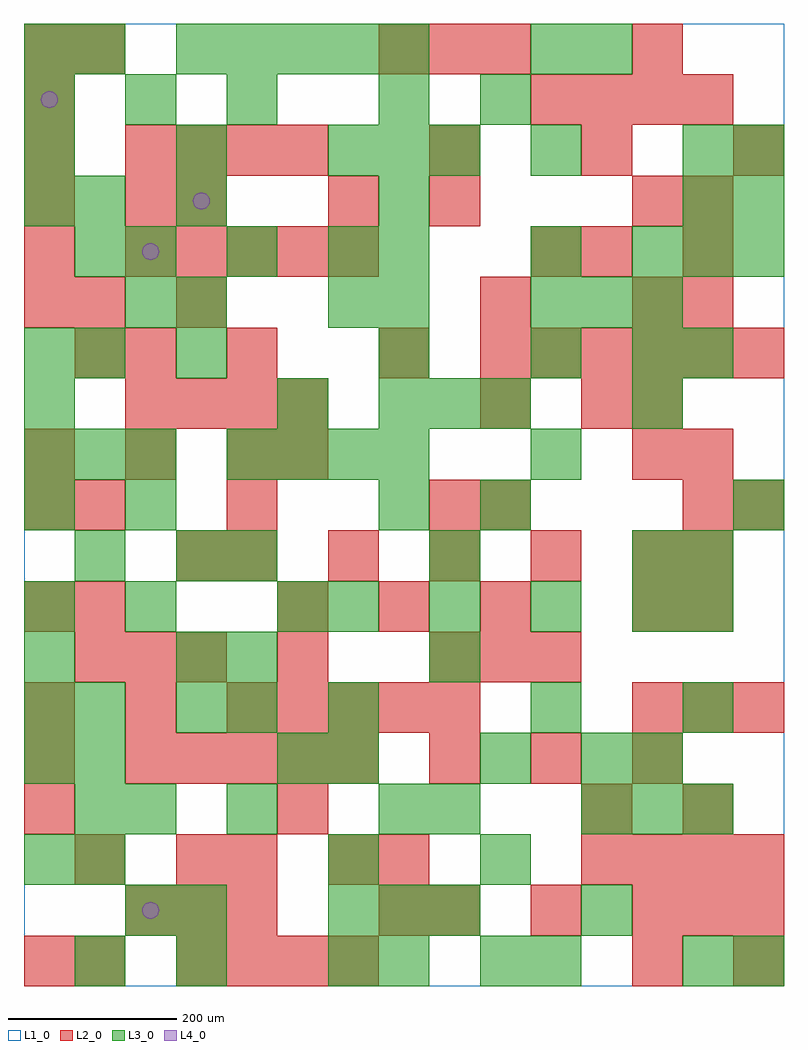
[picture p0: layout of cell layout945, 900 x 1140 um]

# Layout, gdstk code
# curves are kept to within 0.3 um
import gdstk
lib = gdstk.Library(unit=1e-6, precision=1e-09)
def R(c, l, rs):  # rectangles x0, y0, x1, y1
    for r in rs: c.add(gdstk.rectangle(r[:2], r[2:], *l))
def A(c, l, x, y, w, h, nx, ny, dx, dy):  # array of equal rectangles
    R(c, l, [(x+i*dx, y+j*dy, x+i*dx+w, y+j*dy+h) for i in range(nx) for j in range(ny)])
def P(c, l, *ps):  # polygons
    for p in ps: c.add(gdstk.Polygon(p, *l))
L1_0 = (1, 0)
L2_0 = (2, 0)
L3_0 = (3, 0)
L4_0 = (4, 0)

layout945 = lib.new_cell('layout945')
R(layout945, L1_0, [(0,0,900,1140)])
A(layout945, L2_0, 180, 0, 60, 60, 4, 1, 60, 0)
A(layout945, L2_0, 120, 60, 60, 60, 3, 1, 60, 0)
A(layout945, L2_0, 480, 60, 60, 60, 3, 2, 120, 180)
A(layout945, L2_0, 660, 120, 60, 60, 4, 1, 60, 0)
A(layout945, L2_0, 120, 240, 60, 60, 5, 2, 60, 600)
A(layout945, L2_0, 0, 300, 60, 60, 3, 2, 120, 300)
A(layout945, L2_0, 300, 300, 60, 60, 4, 1, 60, 0)
A(layout945, L2_0, 720, 300, 60, 60, 3, 1, 60, 0)
A(layout945, L2_0, 60, 360, 60, 60, 3, 1, 60, 0)
A(layout945, L2_0, 480, 360, 60, 60, 3, 1, 60, 0)
A(layout945, L2_0, 300, 420, 60, 60, 3, 1, 120, 0)
A(layout945, L2_0, 780, 420, 60, 60, 1, 4, 0, 60)
A(layout945, L2_0, 240, 480, 60, 60, 5, 1, 120, 0)
A(layout945, L2_0, 540, 540, 60, 60, 1, 3, 0, 120)
A(layout945, L2_0, 120, 660, 60, 60, 4, 2, 60, 300)
A(layout945, L2_0, 720, 660, 60, 60, 1, 3, 0, 120)
A(layout945, L2_0, 540, 720, 60, 60, 6, 1, 60, 0)
A(layout945, L2_0, 0, 780, 60, 60, 1, 6, 0, 60)
A(layout945, L2_0, 780, 780, 60, 60, 1, 3, 0, 60)
A(layout945, L2_0, 480, 960, 60, 60, 3, 1, 180, 0)
A(layout945, L2_0, 600, 1020, 60, 60, 4, 1, 60, 0)
A(layout945, L2_0, 420, 1080, 60, 60, 3, 1, 60, 0)
R(layout945, L2_0, [(0,0,60,60), (60,0,120,60), (720,0,780,60), (840,0,900,60), (420,60,480,120), (780,60,840,120), (840,60,900,120), (60,120,120,180), (180,120,240,180), (240,120,300,180), (360,120,420,180), (420,120,480,180), (0,180,60,240), (300,180,360,240), (660,180,720,240), (780,180,840,240), (0,240,60,300), (300,360,360,420), (0,420,60,480), (60,420,120,480), (720,420,780,480), (180,480,240,540), (0,540,60,600), (60,540,120,600), (240,540,300,600), (480,540,540,600), (840,540,900,600), (300,600,360,660), (720,600,780,660), (660,660,720,720), (60,720,120,780), (120,720,180,780), (240,720,300,780), (420,720,480,780), (60,780,120,840), (180,780,240,840), (600,840,660,900), (660,840,720,900), (120,900,180,960), (180,900,240,960), (360,900,420,960), (480,900,540,960), (60,1080,120,1140), (720,1080,780,1140)])
A(layout945, L3_0, 360, 0, 60, 60, 1, 3, 0, 120)
A(layout945, L3_0, 540, 0, 60, 60, 1, 3, 0, 120)
A(layout945, L3_0, 600, 0, 60, 60, 1, 3, 0, 300)
A(layout945, L3_0, 360, 60, 60, 60, 3, 1, 60, 0)
A(layout945, L3_0, 60, 120, 60, 60, 1, 4, 0, 60)
A(layout945, L3_0, 660, 180, 60, 60, 3, 1, 60, 0)
A(layout945, L3_0, 0, 240, 60, 60, 1, 4, 0, 60)
A(layout945, L3_0, 360, 420, 60, 60, 4, 1, 120, 0)
A(layout945, L3_0, 240, 480, 60, 60, 3, 1, 240, 0)
A(layout945, L3_0, 0, 600, 60, 60, 3, 1, 60, 0)
A(layout945, L3_0, 240, 600, 60, 60, 4, 1, 60, 0)
A(layout945, L3_0, 420, 660, 60, 60, 3, 1, 60, 0)
A(layout945, L3_0, 0, 720, 60, 60, 1, 3, 0, 180)
A(layout945, L3_0, 420, 720, 60, 60, 1, 6, 0, 60)
A(layout945, L3_0, 600, 720, 60, 60, 1, 4, 0, 120)
A(layout945, L3_0, 600, 780, 60, 60, 3, 1, 60, 0)
A(layout945, L3_0, 120, 840, 60, 60, 3, 1, 120, 0)
A(layout945, L3_0, 720, 840, 60, 60, 3, 1, 60, 0)
A(layout945, L3_0, 0, 960, 60, 60, 3, 1, 180, 0)
A(layout945, L3_0, 0, 1020, 60, 60, 3, 1, 120, 0)
A(layout945, L3_0, 180, 1080, 60, 60, 5, 1, 60, 0)
R(layout945, L3_0, [(60,0,120,60), (180,0,240,60), (420,0,480,60), (780,0,840,60), (840,0,900,60), (120,60,180,120), (180,60,240,120), (660,60,720,120), (0,120,60,180), (120,180,180,240), (240,180,300,240), (420,180,480,240), (480,180,540,240), (300,240,360,300), (660,240,720,300), (720,240,780,300), (180,300,240,360), (240,300,300,360), (360,300,420,360), (780,300,840,360), (180,360,240,420), (240,360,300,420), (480,360,540,420), (120,420,180,480), (300,420,360,480), (780,420,840,480), (60,480,120,540), (180,480,240,540), (780,480,840,540), (0,540,60,600), (120,540,180,600), (420,540,480,600), (540,540,600,600), (840,540,900,600), (0,660,60,720), (300,660,360,720), (720,660,780,720), (60,720,120,780), (180,720,240,780), (720,720,780,780), (780,720,840,780), (120,780,180,840), (180,780,240,840), (360,780,420,840), (60,840,120,900), (60,900,120,960), (180,900,240,960), (780,900,840,960), (840,900,900,960), (480,960,540,1020), (780,960,840,1020), (840,960,900,1020), (540,1020,600,1080), (60,1080,120,1140), (660,1080,720,1140)])
P(layout945, L4_0, [(40,1050),(39.239,1053.827),(37.071,1057.071),(33.827,1059.239),(30,1060),(26.173,1059.239),(22.929,1057.071),(20.761,1053.827),(20,1050),(20.761,1046.173),(22.929,1042.929),(26.173,1040.761),(30,1040),(33.827,1040.761),(37.071,1042.929),(39.239,1046.173)],
  [(160,90),(159.239,93.827),(157.071,97.071),(153.827,99.239),(150,100),(146.173,99.239),(142.929,97.071),(140.761,93.827),(140,90),(140.761,86.173),(142.929,82.929),(146.173,80.761),(150,80),(153.827,80.761),(157.071,82.929),(159.239,86.173)],
  [(160,870),(159.239,873.827),(157.071,877.071),(153.827,879.239),(150,880),(146.173,879.239),(142.929,877.071),(140.761,873.827),(140,870),(140.761,866.173),(142.929,862.929),(146.173,860.761),(150,860),(153.827,860.761),(157.071,862.929),(159.239,866.173)],
  [(220,930),(219.239,933.827),(217.071,937.071),(213.827,939.239),(210,940),(206.173,939.239),(202.929,937.071),(200.761,933.827),(200,930),(200.761,926.173),(202.929,922.929),(206.173,920.761),(210,920),(213.827,920.761),(217.071,922.929),(219.239,926.173)])

lib.write_gds('layout945.gds')
